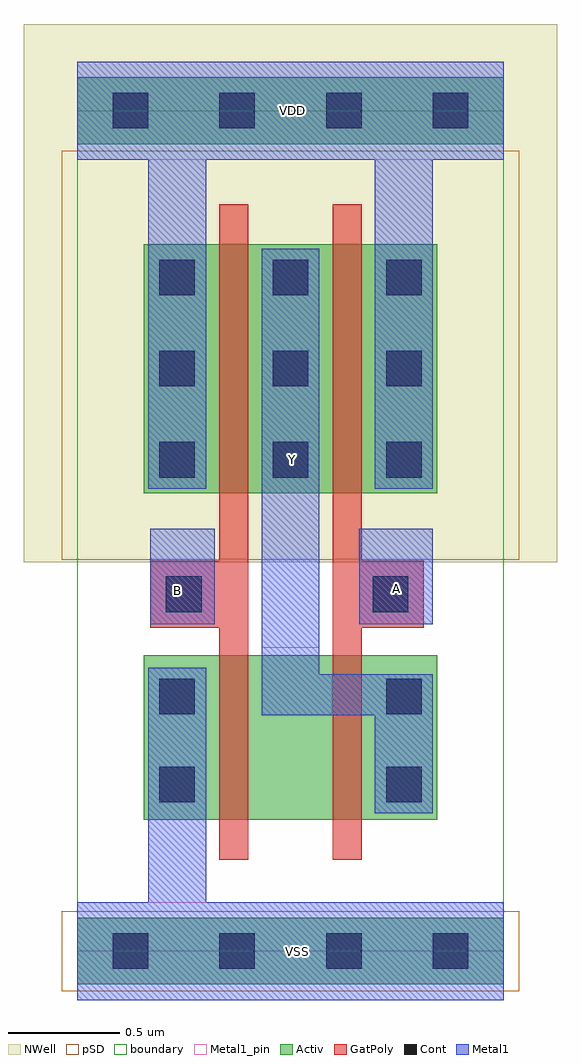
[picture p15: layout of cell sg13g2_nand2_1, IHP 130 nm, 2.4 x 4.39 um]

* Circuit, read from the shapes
.subckt sg13g2_nand2_1 A B VDD VSS Y
XM1 n1 B VSS VSS sg13_lv_nmos w=0.74u l=0.13u
XM2 Y A n1 VSS sg13_lv_nmos w=0.74u l=0.13u
XM3 Y B VDD VDD sg13_lv_pmos w=1.12u l=0.13u
XM4 VDD A Y VDD sg13_lv_pmos w=1.12u l=0.13u
.ends

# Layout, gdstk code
import gdstk
lib = gdstk.Library(unit=1e-6, precision=1e-09)
def R(c, l, rs):  # rectangles x0, y0, x1, y1
    for r in rs: c.add(gdstk.rectangle(r[:2], r[2:], *l))
def A(c, l, x, y, w, h, nx, ny, dx, dy):  # array of equal rectangles
    R(c, l, [(x+i*dx, y+j*dy, x+i*dx+w, y+j*dy+h) for i in range(nx) for j in range(ny)])
def P(c, l, *ps):  # polygons
    for p in ps: c.add(gdstk.Polygon(p, *l))
Activ = (1, 0)
GatPoly = (5, 0)
Cont = (6, 0)
Metal1 = (8, 0)
Metal1_pin = (8, 2)
pSD = (14, 0)
NWell = (31, 0)
boundary = (189, 4)

sg13g2_nand2_1 = lib.new_cell('sg13g2_nand2_1')
R(sg13g2_nand2_1, Activ, [(0,-0.15,1.92,0.15), (0.3,0.59,1.62,1.33), (0.3,2.06,1.62,3.18), (0,3.63,1.92,3.93)])
P(sg13g2_nand2_1, GatPoly, [(0.64,0.41),(0.64,1.455),(0.33,1.455),(0.33,1.755),(0.64,1.755),(0.64,3.36),(0.77,3.36),(0.77,0.41)],
  [(1.15,0.41),(1.15,3.36),(1.28,3.36),(1.28,1.755),(1.56,1.755),(1.56,1.455),(1.28,1.455),(1.28,0.41)])
A(sg13g2_nand2_1, Cont, 0.16, -0.08, 0.16, 0.16, 4, 2, 0.48, 3.78)
A(sg13g2_nand2_1, Cont, 0.37, 2.13, 0.16, 0.16, 3, 3, 0.51, 0.41)
R(sg13g2_nand2_1, Cont, [(0.37,0.67,0.53,0.83), (1.39,0.67,1.55,0.83), (0.37,1.065,0.53,1.225), (1.39,1.065,1.55,1.225), (0.4,1.525,0.56,1.685), (1.33,1.525,1.49,1.685)])
R(sg13g2_nand2_1, Metal1, [(0.33,1.47,0.62,1.9), (1.27,1.47,1.6,1.9)])
P(sg13g2_nand2_1, Metal1, [(0.32,2.08),(0.32,3.56),(0,3.56),(0,4),(1.92,4),(1.92,3.56),(1.6,3.56),(1.6,2.08),(1.34,2.08),(1.34,3.56),(0.58,3.56),(0.58,2.08)],
  [(0,-0.22),(0,0.22),(0.32,0.22),(0.32,1.275),(0.58,1.275),(0.58,0.22),(1.92,0.22),(1.92,-0.22)],
  [(1.34,0.62),(1.34,1.06),(0.83,1.06),(0.83,3.16),(1.09,3.16),(1.09,1.245),(1.6,1.245),(1.6,0.62)])
R(sg13g2_nand2_1, Metal1_pin, [(0,-0.22,1.92,0.22), (0.83,1.365,1.09,3.16), (0.33,1.47,0.62,1.9), (1.27,1.47,1.6,1.9), (0,3.56,1.92,4)])
R(sg13g2_nand2_1, pSD, [(-0.07,-0.18,1.99,0.18), (-0.07,1.76,1.99,3.6)])
R(sg13g2_nand2_1, NWell, [(-0.24,1.75,2.16,4.17)])
R(sg13g2_nand2_1, boundary, [(0,0,1.92,3.78)])
sg13g2_nand2_1.add(gdstk.Label('B', (0.45,1.62), layer=8, texttype=25))
sg13g2_nand2_1.add(gdstk.Label('VDD', (0.97,3.78), layer=8, texttype=25))
sg13g2_nand2_1.add(gdstk.Label('A', (1.435,1.63), layer=8, texttype=25))
sg13g2_nand2_1.add(gdstk.Label('Y', (0.97,2.21), layer=8, texttype=25))
sg13g2_nand2_1.add(gdstk.Label('VSS', (0.99,0), layer=8, texttype=25))

lib.write_gds('sg13g2_nand2_1.gds')
